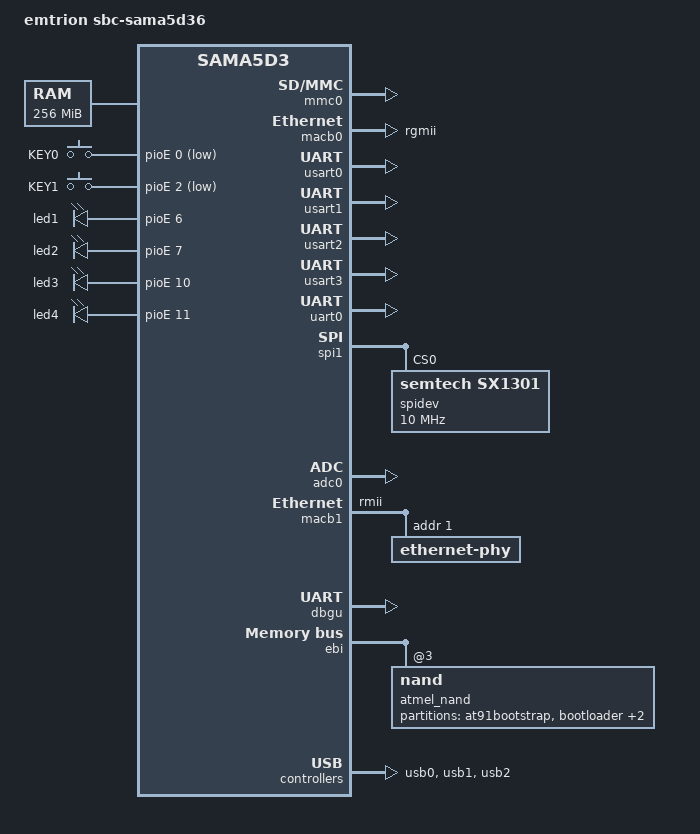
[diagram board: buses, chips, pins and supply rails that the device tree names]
/*
 * sbc-sama5d363.dts - Device Tree file for the SBC-SAMA5D36
 *
 *  Copyright (C) 2014 emtrion GmbH
 *		  2014 Anthony Harivel <anthony.harivel@emtrion.de>
 *
 * Licensed under GPLv2 or later.
 */
/dts-v1/;
#include "sama5d36.dtsi"
#include <dt-bindings/pwm/pwm.h>

/ {
	model = "emtrion sbc-sama5d36";
	compatible = "emtrion,sbc-sama5d36", "atmel,sama5d3", "atmel,sama5";

	chosen {
		bootargs = "console=ttyS0,115200";
	};

	memory {
		reg = <0x20000000 0x10000000>;
	};

	clocks {
		main_xtal: main_xtal {
			clock-frequency = <12000000>;
		};

		slow_xtal: slow_xtal {
			clock-frequency = <32768>;
		};
	};

	ahb {
		apb {
			mmc0: mmc@f0000000 {
				pinctrl-0 = <&pinctrl_mmc0_clk_cmd_dat0 &pinctrl_mmc0_dat1_3 /*&pinctrl_mmc0_dat4_7 &pinctrl_mmc0_cd*/>;
				status = "okay";
				slot@0 {
					reg = <0>;
					bus-width = <8>;
				};
			};
			
			spi0: spi@f0004000 {
				cs-gpios = <&pioD 13 0>;
				status = "disabled";
			};

			can0: can@f000c000 {
				status = "disabled";
			};

			tcb0: timer@f0010000 {
				timer0: timer@0 {
					compatible = "atmel,tcb-timer";
					reg = <0>;
				};

				timer1: timer@1 {
					compatible = "atmel,tcb-timer";
					reg = <1>;
				};
			};

			ssc0: ssc@f0008000 {
				pinctrl-0 = <>;
			};

			i2c0: i2c@f0014000 {
				clock-frequency = <100000>;
				status = "disabled";

				pmic: act8865@5b {
					compatible = "active-semi,act8865";
					reg = <0x5b>;
					status = "disabled";

					regulators {
						vcc_1v8_reg: DCDC_REG1 {
							regulator-name = "VCC_1V8";
							regulator-min-microvolt = <1800000>;
							regulator-max-microvolt = <1800000>;
							regulator-always-on;
						};

						vcc_1v2_reg: DCDC_REG2 {
							regulator-name = "VCC_1V2";
							regulator-min-microvolt = <1250000>;
							regulator-max-microvolt = <1250000>;
							regulator-always-on;
						};

						vcc_3v3_reg: DCDC_REG3 {
							regulator-name = "VCC_3V3";
							regulator-min-microvolt = <3300000>;
							regulator-max-microvolt = <3300000>;
							regulator-always-on;
						};

						vddfuse_reg: LDO_REG1 {
							regulator-name = "FUSE_2V5";
							regulator-min-microvolt = <2500000>;
							regulator-max-microvolt = <2500000>;
						};

						vddana_reg: LDO_REG2 {
							regulator-name = "VDDANA";
							regulator-min-microvolt = <3300000>;
							regulator-max-microvolt = <3300000>;
							regulator-always-on;
						};
					};
				};
			};

			i2c1: i2c@f0018000 {
				clock-frequency = <100000>;
				status = "disabled";
				polytouch: edt-ft5x06@38 {
					compatible = "edt,edt-ft5406", "edt,edt-ft5x06";
					reg = <0x38>;
					pinctrl-names = "default";
					pinctrl-0 = <>;
					interrupt-parent = <&pioA>;
					interrupts = <20 IRQ_TYPE_EDGE_FALLING>;
				};
			};

			macb0: ethernet@f0028000 {
				phy-mode = "rgmii";
				status = "okay";
			};

			pwm0: pwm@f002c000 {
				pinctrl-names = "default";
				pinctrl-0 = <&pinctrl_pwm0_pwml1_2 &pinctrl_pwm0_pwml2_1 &pinctrl_pwm0_pwmh2_1 &pinctrl_pwm0_pwmh3_1 &pinctrl_pwm0_pwml3_1>;
				status = "disabled";
			};

			sha@f8034000 {
				dmas = <0>, <0>;
				status = "disabled";
			};

			aes@f8038000 {
				dmas = <0>, <0>;
				status = "disabled";
			};

			tdes@f803c000 {
				dmas = <0>, <0>;
				status = "disabled";
			};
			
			usart0: serial@f001c000 {
				pinctrl-0 = <&pinctrl_usart0>;
				atmel,use-dma-rx;
				atmel,use-dma-tx;
				status = "okay";
			};

			usart1: serial@f0020000 {
				pinctrl-0 = <&pinctrl_usart1>;
				atmel,use-dma-rx;
				atmel,use-dma-tx;
				status = "okay";
			};

			usart2: serial@f8020000 {
				pinctrl-0 = <&pinctrl_usart2>;
				atmel,use-dma-rx;
				atmel,use-dma-tx;
				status = "okay";
			};

			usart3: serial@f8024000 {
				pinctrl-0 = <&pinctrl_usart3>;
				atmel,use-dma-rx;
				atmel,use-dma-tx;
				status = "okay";
			};

			uart0: serial@f0024000 {
				status = "okay";
			};

			mmc1: mmc@f8000000 {
				pinctrl-0 = <&pinctrl_mmc1_clk_cmd_dat0 &pinctrl_mmc1_dat1_3 &pinctrl_mmc1_cd>;
				status = "disabled";
				slot@0 {
					reg = <0>;
					bus-width = <4>;
					cd-gpios = <&pioE 1 GPIO_ACTIVE_HIGH>;
				};
			};

			spi1: spi@f8008000 {
				cs-gpios = <0>, <0>, <0>, <0>;
				pinctrl-0 = <&pinctrl_spi1 &pinctrl_ble_irq>;
				dmas = <0>, <0>;
				status = "okay";
				spidev@0 {
					compatible = "semtech,sx1301";
					spi-max-frequency = <10000000>;
					reg = <0>;
				};
			};

			adc0: adc@f8018000 {
				pinctrl-0 = <
					&pinctrl_adc0_ad0
					&pinctrl_adc0_ad1
					&pinctrl_adc0_ad2
					&pinctrl_adc0_ad3
					&pinctrl_adc0_ad4
					&pinctrl_adc0_ad5
					&pinctrl_adc0_ad6
					&pinctrl_adc0_ad7
					&pinctrl_adc0_ad8
					&pinctrl_adc0_ad9
					>;
				atmel,adc-vref = <3300>;
				status = "okay";
			};

			i2c2: i2c@f801c000 {
				dmas = <0>, <0>;	/* Do not use DMA for i2c2 */
				status = "disabled";
			};

			hlcdc: hlcdc@f0030000 {
				status = "disabled";

				hlcdc-display-controller {
					pinctrl-names = "default";
					pinctrl-0 = <&pinctrl_lcd_base &pinctrl_lcd_rgb888_alt>;

					port@0 {

						hlcdc_panel_output: endpoint@0 {
							reg = <0>;
							remote-endpoint = <&panel_input>;
						};
					};
				};
			};

			macb1: ethernet@f802c000 {
				phy-mode = "rmii";
				#address-cells = <1>;
				#size-cells = <0>;
				status = "okay";

				ethernet-phy@1 {
					reg = <0x1>;
					ti-dp83848,led-mode = <2>;
					ti-dp83848,speed_led_alternative;
				};
			};

			dbgu: serial@ffffee00 {
				status = "okay";
			};

			pinctrl@fffff200 {
				board {
					pinctrl_mmc1_cd: mmc1_cd {
						atmel,pins =
							<AT91_PIOE 1 AT91_PERIPH_GPIO AT91_PINCTRL_PULL_UP_DEGLITCH>;
					};

					pinctrl_usba_vbus: usba_vbus {
						atmel,pins =
							<AT91_PIOE 9 AT91_PERIPH_GPIO AT91_PINCTRL_DEGLITCH>;	/* PE9, conflicts with A9 */
					};

					edt_ft5x06_pins: touchscreen_pins {
						atmel,pins =
							 <AT91_PIOA 16 AT91_PERIPH_GPIO AT91_PINCTRL_PULL_UP_DEGLITCH>,
							 <AT91_PIOA 20 AT91_PERIPH_GPIO AT91_PINCTRL_PULL_UP_DEGLITCH>;
					};

					pinctrl_ble_irq: ble_irq {
						atmel,pins =
							<AT91_PIOD 8 AT91_PERIPH_GPIO AT91_PINCTRL_PULL_DOWN>;
					};
				};
			};

			pmc: pmc@fffffc00 {
				main: mainck {
					clock-frequency = <12000000>;
				};
			};
		};
		ebi: ebi@10000000 {
			pinctrl-0 = <&pinctrl_ebi_nand_addr>;
			pinctrl-names = "default";
			status = "okay";

			nand_controller: nand-controller {
				status = "okay";

				nand@3 {
					reg = <0x3 0x0 0x2>;
					atmel,rb = <0>;
					nand-bus-width = <8>;
					nand-ecc-mode = "hw";
					nand-ecc-strength = <4>;
					nand-ecc-step-size = <512>;
					nand-on-flash-bbt;
					label = "atmel_nand";

					partitions {
						compatible = "fixed-partitions";
						#address-cells = <1>;
						#size-cells = <1>;

						at91bootstrap@0 {
							label = "at91bootstrap";
							reg = <0x0 0x40000>;
						};

						bootloader@40000 {
							label = "bootloader";
							reg = <0x40000 0x80000>;
						};

						bootloaderenv@c0000 {
							label = "bootloader env";
							reg = <0xc0000 0x40000>;
						};

						rootfs@800000 {
							label = "rootfs";
							reg = <0x100000 0x1fe80000>;
						};
					};
				};
			};
		};

		usb0: gadget@00500000 {
			atmel,vbus-gpio = <&pioE 9 GPIO_ACTIVE_HIGH>;	/* PE9, conflicts with A9 */
			pinctrl-names = "default";
			pinctrl-0 = <&pinctrl_usba_vbus>;
			status = "okay";
		};

		usb1: ohci@00600000 {
			num-ports = <3>;
			atmel,vbus-gpio = <0
					   &pioE 3 GPIO_ACTIVE_HIGH
					   &pioE 4 GPIO_ACTIVE_HIGH
					  >;
			status = "okay";
		};

		usb2: ehci@00700000 {
			status = "okay";
		};
	};

	bl_reg: backlight_regulator {
		compatible = "regulator-fixed";
		regulator-name = "backlight-power-supply";
		regulator-min-microvolt = <5000000>;
		regulator-max-microvolt = <5000000>;
		status = "disabled";
	};

	panel_reg: panel_regulator {
		compatible = "regulator-fixed";
		regulator-name = "panel-power-supply";
		regulator-min-microvolt = <3300000>;
		regulator-max-microvolt = <3300000>;
		status = "disabled";
	};

	backlight: backlight {
		compatible = "pwm-backlight";
		pwms = <&hlcdc_pwm 0 50000 PWM_POLARITY_INVERTED>;
		brightness-levels = <1 64 68 76 92 124 188 255>;
		default-brightness-level = <6>;
		power-supply = <&bl_reg>;
		status = "disabled";
	};

	panel: panel {
		compatible = "edt,etm0700g0dh6", "simple-panel";
		backlight = <&backlight>;
		power-supply = <&panel_reg>;
		#address-cells = <1>;
		#size-cells = <0>;
		status = "disabled";

		port@0 {
			#address-cells = <1>;
			#size-cells = <0>;

			panel_input: endpoint@0 {
				reg = <0>;
				remote-endpoint = <&hlcdc_panel_output>;
			};
		};
	};

	gpio_keys {
		compatible = "gpio-keys";

		key0 {
			label = "KEY0";
			gpios = <&pioE 0 GPIO_ACTIVE_LOW>;
			linux,code = <0x104>;
			gpio-key,wakeup;
		};
		
		key1 {
			label = "KEY1";
			gpios = <&pioE 2 GPIO_ACTIVE_LOW>;
			linux,code = <0x74>;
			gpio-key,wakeup;
		};
	};

	leds {
		compatible = "gpio-leds";

		led1 {
			label = "led1";
			gpios = <&pioE 6 GPIO_ACTIVE_HIGH>;
			linux,default-trigger = "heartbeat";
		};

		led2 {
			label = "led2";
			gpios = <&pioE 7 GPIO_ACTIVE_HIGH>;
			linux,default-state = "off";
		};
		
		led3 {
			label = "led3";
			gpios = <&pioE 10 GPIO_ACTIVE_HIGH>;
			linux,default-state = "off";
		};

		led4 {
			label = "led4";
			gpios = <&pioE 11 GPIO_ACTIVE_HIGH>;
			linux,default-state = "off";
		};
	};
};

&adc_op_clk {
	clock-frequency = <500000>;
};
